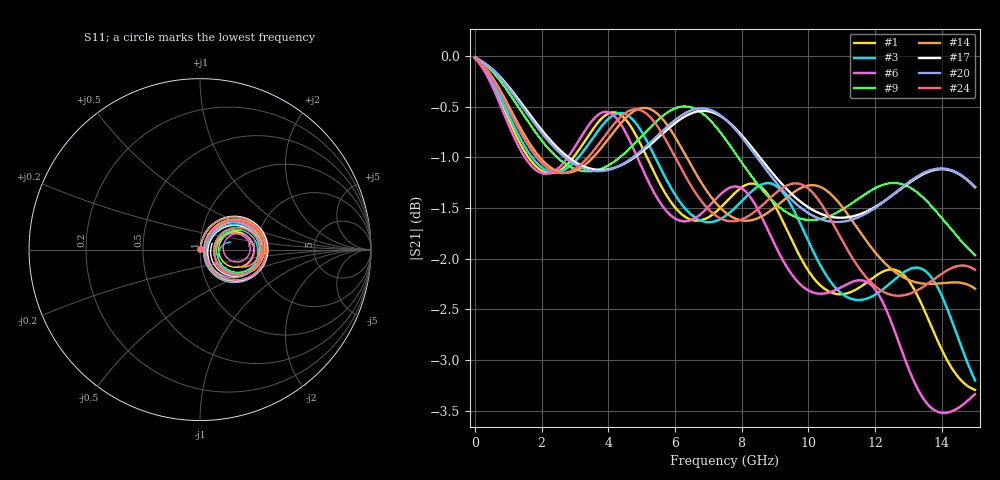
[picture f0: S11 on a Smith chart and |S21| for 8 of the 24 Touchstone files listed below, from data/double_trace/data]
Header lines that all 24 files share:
! Created with skrf 1.8.0 (http://scikit-rf.org).
# GHz S RI R 50.0
!freq ReS11 ImS11 ReS12 ImS12 ReS13 ImS13
! ReS14 ImS14
! ReS21 ImS21 ReS22 ImS22 ReS23 ImS23
! ReS24 ImS24
! ReS31 ImS31 ReS32 ImS32 ReS33 ImS33
! ReS34 ImS34
! ReS41 ImS41 ReS42 ImS42 ReS43 ImS43
! ReS44 ImS44
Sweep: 5 MHz to 15 GHz
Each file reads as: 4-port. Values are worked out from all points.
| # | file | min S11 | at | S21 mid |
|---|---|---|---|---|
| 1 | 602.s4p | -51.9 dB | 5 MHz | -1.5 dB at 7.19 GHz |
| 2 | 603.s4p | -51.1 dB | 5 MHz | -1.3 dB at 7.19 GHz |
| 3 | 604.s4p | -52.4 dB | 5 MHz | -1.6 dB at 7.19 GHz |
| 4 | 608.s4p | -52.3 dB | 5 MHz | -1.6 dB at 7.19 GHz |
| 5 | 609.s4p | -53.6 dB | 5 MHz | -1.4 dB at 7.19 GHz |
| 6 | 610.s4p | -51.4 dB | 5 MHz | -1.4 dB at 7.19 GHz |
| 7 | 612.s4p | -53.7 dB | 5 MHz | -1.4 dB at 7.19 GHz |
| 8 | 613.s4p | -53.8 dB | 5 MHz | -1.4 dB at 7.19 GHz |
| 9 | 615.s4p | -55.4 dB | 5 MHz | -0.7 dB at 7.19 GHz |
| 10 | 616.s4p | -56.0 dB | 5 MHz | -0.5 dB at 7.19 GHz |
| 11 | 619.s4p | -53.7 dB | 5 MHz | -1.4 dB at 7.19 GHz |
| 12 | 620.s4p | -52.2 dB | 5 MHz | -1.6 dB at 7.19 GHz |
| 13 | 621.s4p | -51.9 dB | 5 MHz | -1.5 dB at 7.19 GHz |
| 14 | 623.s4p | -53.5 dB | 5 MHz | -1.4 dB at 7.19 GHz |
| 15 | 624.s4p | -54.6 dB | 5 MHz | -1.0 dB at 7.19 GHz |
| 16 | 625.s4p | -52.8 dB | 5 MHz | -1.6 dB at 7.19 GHz |
| 17 | 627.s4p | -56.3 dB | 5 MHz | -0.6 dB at 7.19 GHz |
| 18 | 629.s4p | -54.0 dB | 5 MHz | -1.4 dB at 7.19 GHz |
| 19 | 632.s4p | -54.7 dB | 5 MHz | -1.0 dB at 7.19 GHz |
| 20 | 633.s4p | -56.2 dB | 5 MHz | -0.5 dB at 7.19 GHz |
| 21 | 636.s4p | -55.2 dB | 5 MHz | -0.8 dB at 7.19 GHz |
| 22 | 637.s4p | -50.9 dB | 5 MHz | -1.3 dB at 7.19 GHz |
| 23 | 638.s4p | -53.8 dB | 5 MHz | -1.4 dB at 7.19 GHz |
| 24 | 639.s4p | -53.1 dB | 5 MHz | -1.6 dB at 7.19 GHz |
